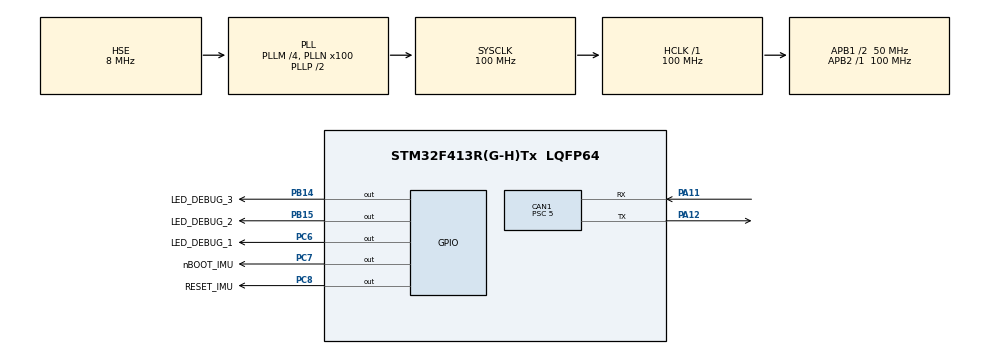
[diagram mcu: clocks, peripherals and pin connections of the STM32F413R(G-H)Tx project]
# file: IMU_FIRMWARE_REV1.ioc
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CAN1.BS1=CAN_BS1_8TQ
CAN1.CalculateTimeQuantum=100.0
CAN1.Prescaler=5
Mcu.Family=STM32F4
Mcu.Name=STM32F413R(G-H)Tx
Mcu.Package=LQFP64
NVIC.CAN1_RX0_IRQn=true\:2\:0\:true\:false\:true\:true\:true
NVIC.CAN1_RX1_IRQn=true\:2\:0\:true\:false\:true\:true\:true
NVIC.CAN1_SCE_IRQn=true\:2\:0\:true\:false\:true\:true\:true
NVIC.CAN1_TX_IRQn=true\:2\:0\:true\:false\:true\:true\:true
NVIC.PriorityGroup=NVIC_PRIORITYGROUP_4
NVIC.TIM6_DAC_IRQn=true\:1\:0\:true\:false\:true\:true\:true
PA11.Mode=Master
PA11.Signal=CAN1_RX
PA12.Mode=Master
PA12.Signal=CAN1_TX
PA13.Mode=Trace_Asynchronous_SW
PA13.Signal=SYS_JTMS-SWDIO
PA14.Mode=Trace_Asynchronous_SW
PA14.Signal=SYS_JTCK-SWCLK
PB14.GPIO_Label=LED_DEBUG_3
PB14.PinState=GPIO_PIN_SET
PB14.Signal=GPIO_Output
PB15.GPIO_Label=LED_DEBUG_2
PB15.PinState=GPIO_PIN_SET
PB15.Signal=GPIO_Output
PB3.Mode=Trace_Asynchronous_SW
PB3.Signal=SYS_JTDO-SWO
PC6.GPIO_Label=LED_DEBUG_1
PC6.PinState=GPIO_PIN_SET
PC6.Signal=GPIO_Output
PC7.GPIO_Label=nBOOT_IMU
PC7.Signal=GPIO_Output
PC8.GPIO_Label=RESET_IMU
PC8.Signal=GPIO_Output
PH0\ -\ OSC_IN.Mode=HSE-External-Oscillator
PH0\ -\ OSC_IN.Signal=RCC_OSC_IN
PH1\ -\ OSC_OUT.Mode=HSE-External-Oscillator
PH1\ -\ OSC_OUT.Signal=RCC_OSC_OUT
ProjectManager.HeapSize=0x1200
ProjectManager.StackSize=0x1400
ProjectManager.TargetToolchain=MDK-ARM V5
RCC.AHBFreq_Value=100000000
RCC.APB1CLKDivider=RCC_HCLK_DIV2
RCC.APB1Freq_Value=50000000
RCC.APB1TimFreq_Value=100000000
RCC.APB2Freq_Value=100000000
RCC.APB2TimFreq_Value=100000000
RCC.CortexFreq_Value=100000000
RCC.HCLKFreq_Value=100000000
RCC.HSE_VALUE=8000000
RCC.PLLM=4
RCC.PLLN=100
RCC.PLLQ=4
RCC.PLLSourceVirtual=RCC_PLLSOURCE_HSE
RCC.SYSCLKFreq_VALUE=100000000
RCC.SYSCLKSource=RCC_SYSCLKSOURCE_PLLCLK
RCC.USBFreq_Value=50000000
RCC.VCOOutputFreq_Value=200000000
TIM6.Period=999
TIM6.Prescaler=9999
VP_RNG_VS_RNG.Mode=RNG_Activate
VP_TIM6_VS_ClockSourceINT.Mode=Enable_Timer
board=custom

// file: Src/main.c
/* USER CODE BEGIN Header */
/**
  ******************************************************************************
  * @file           : main.c
  * @brief          : Main program body
  ******************************************************************************
  * @attention
  *
  * <h2><center>&copy; Copyright (c) 2019 STMicroelectronics.
  * All rights reserved.</center></h2>
  *
  * This software component is licensed by ST under BSD 3-Clause license,
  * the "License"; You may not use this file except in compliance with the
  * License. You may obtain a copy of the License at:
  *                        opensource.org/licenses/BSD-3-Clause
  *
  ******************************************************************************
  */
/* USER CODE END Header */

#include "main.h"
#include "can.h"
#include "rng.h"
#include "tim.h"
#include "gpio.h"

/* USER CODE BEGIN Includes */
#include "id_can.h"
#include "pirelli_sim.h"
#include <stdlib.h>

/* USER CODE END Includes */

/* USER CODE BEGIN PTD */
typedef enum
{
	false, true
}bool;
/* USER CODE END PTD */

/* USER CODE BEGIN PD */

#define MEAS_ID 0x641
#define STATUS_ID 0x640
/* USER CODE END PD */

/* USER CODE BEGIN PV */

advertiseMeasTypedef AdvertiseMeasFL;
advertiseSensorStatusTypedef AdvertiseSensorStatusFL;

advertiseMeasTypedef AdvertiseMeasFR;
advertiseSensorStatusTypedef AdvertiseSensorStatusFR;

advertiseMeasTypedef AdvertiseMeasRL;
advertiseSensorStatusTypedef AdvertiseSensorStatusRL;

advertiseMeasTypedef AdvertiseMeasRR;
advertiseSensorStatusTypedef AdvertiseSensorStatusRR;

uint8_t sendBuffer [8];
uint8_t status=0;

bool useErrors = true;

/* USER CODE END PV */

void SystemClock_Config(void);
/* USER CODE BEGIN PFP */
void LED_blink(void);
/* USER CODE END PFP */

int main(void)
{
  /* USER CODE BEGIN 1 */

	//Note: inserire il valore che si intende inviare, gli offset vengono applicati dalla funzione di conversione da struct ad array

	/*advertiseMeasTypedef:							//Range accettabili:

	uint32_t UID;												//Da 0 a 0xFFFFFFFF
	uint16_t Pressure;									//Da 0 a 2047
	statusTypedef Measurement_Status;		//Vedi typedef status
	int16_t Temperature;								//Da -78 a 177
	uint8_t Service_Counter;						//Da 0 a 255 ciclico

	advertiseSensorStatusTypedef:				//Range accettabili:

	uint32_t UID;												//Da 0 a 0xFFFFFFFF
	locationTypedef Location;						//Vedi typedef Location
	axleTypedef Axle;										//Vedi typedef axle
	typeTypedef Type;										//Vedi typedef type
	int8_t RSSI;												//Da -127 a 0
	muteTypedef Mute;										//Vedi typedef mute
	uint16_t Battery_Voltage;						//Da 100 a 355
	uint8_t Service_Counter;						//Da 0 a 255 ciclico*/

	//Inizializzazione front left

	AdvertiseMeasFL.UID = 0xCACCA000;
	AdvertiseMeasFL.Pressure = 100;
	AdvertiseMeasFL.Measurement_Status = IN_RANGE;
	AdvertiseMeasFL.Temperature = 85;
	AdvertiseMeasFL.Service_Counter = 0;

	AdvertiseSensorStatusFL.UID = 0xCACCA000;
	AdvertiseSensorStatusFL.Location = LEFT;
	AdvertiseSensorStatusFL.Axle = FRONT;
	AdvertiseSensorStatusFL.Type = TYPE_UNDEFINED;
	AdvertiseSensorStatusFL.RSSI = -15;
	AdvertiseSensorStatusFL.Mute = PSN_ADVERTISING;
	AdvertiseSensorStatusFL.Battery_Voltage = 255;
	AdvertiseSensorStatusFL.Service_Counter = 0;

	//Inizializzazione front right
	AdvertiseMeasFR.UID = 0xCACCA001;
	AdvertiseMeasFR.Pressure = 120;
	AdvertiseMeasFR.Measurement_Status = IN_RANGE;
	AdvertiseMeasFR.Temperature = 70;
	AdvertiseMeasFR.Service_Counter = 0;

	AdvertiseSensorStatusFR.UID = 0xCACCA001;
	AdvertiseSensorStatusFR.Location = RIGHT;
	AdvertiseSensorStatusFR.Axle = FRONT;
	AdvertiseSensorStatusFR.Type = TYPE_UNDEFINED;
	AdvertiseSensorStatusFR.RSSI = -16;
	AdvertiseSensorStatusFR.Mute = PSN_ADVERTISING;
	AdvertiseSensorStatusFR.Battery_Voltage = 250;
	AdvertiseSensorStatusFR.Service_Counter = 0;

	//Inizializzazione rear left

	AdvertiseMeasRL.UID = 0xCACCA002;
	AdvertiseMeasRL.Pressure = 90;
	AdvertiseMeasRL.Measurement_Status = IN_RANGE;
	AdvertiseMeasRL.Temperature = 120;
	AdvertiseMeasRL.Service_Counter = 0;

	AdvertiseSensorStatusRL.UID = 0xCACCA002;
	AdvertiseSensorStatusRL.Location = LEFT;
	AdvertiseSensorStatusRL.Axle = REAR;
	AdvertiseSensorStatusRL.Type = TYPE_UNDEFINED;
	AdvertiseSensorStatusRL.RSSI = -17;
	AdvertiseSensorStatusRL.Mute = PSN_ADVERTISING;
	AdvertiseSensorStatusRL.Battery_Voltage = 200;
	AdvertiseSensorStatusRL.Service_Counter = 0;

	//Inizializzazione rear right

	AdvertiseMeasRR.UID = 0xCACCA003;
	AdvertiseMeasRR.Pressure = 90;
	AdvertiseMeasRR.Measurement_Status = IN_RANGE;
	AdvertiseMeasRR.Temperature = 120;
	AdvertiseMeasRR.Service_Counter = 0;

	AdvertiseSensorStatusRR.UID = 0xCACCA003;
	AdvertiseSensorStatusRR.Location = RIGHT;
	AdvertiseSensorStatusRR.Axle = REAR;
	AdvertiseSensorStatusRR.Type = TYPE_UNDEFINED;
	AdvertiseSensorStatusRR.RSSI = -18;
	AdvertiseSensorStatusRR.Mute = PSN_ADVERTISING;
	AdvertiseSensorStatusRR.Battery_Voltage = 200;
	AdvertiseSensorStatusRR.Service_Counter = 0;

  /* USER CODE END 1 */

  /* MCU Configuration--------------------------------------------------------*/

  /* Reset of all peripherals, Initializes the Flash interface and the Systick. */
  HAL_Init();

  /* Configure the system clock */
  SystemClock_Config();

  /* Initialize all configured peripherals */
  MX_GPIO_Init();
  MX_CAN1_Init();
  MX_TIM6_Init();
  MX_RNG_Init();
  /* USER CODE BEGIN 2 */
	LED_blink();
	canStart();
	HAL_TIM_Base_Start_IT(&htim6);
  /* USER CODE END 2 */

  /* Infinite loop */
  while (1)
  {

  }
}

void SystemClock_Config(void)
{
  RCC_OscInitTypeDef RCC_OscInitStruct = {0};
  RCC_ClkInitTypeDef RCC_ClkInitStruct = {0};
  RCC_PeriphCLKInitTypeDef PeriphClkInitStruct = {0};

  /** Configure the main internal regulator output voltage
  */
  __HAL_RCC_PWR_CLK_ENABLE();
  __HAL_PWR_VOLTAGESCALING_CONFIG(PWR_REGULATOR_VOLTAGE_SCALE1);
  /** Initializes the CPU, AHB and APB busses clocks
  */
  RCC_OscInitStruct.OscillatorType = RCC_OSCILLATORTYPE_HSE;
  RCC_OscInitStruct.HSEState = RCC_HSE_ON;
  RCC_OscInitStruct.PLL.PLLState = RCC_PLL_ON;
  RCC_OscInitStruct.PLL.PLLSource = RCC_PLLSOURCE_HSE;
  RCC_OscInitStruct.PLL.PLLM = 4;
  RCC_OscInitStruct.PLL.PLLN = 100;
  RCC_OscInitStruct.PLL.PLLP = RCC_PLLP_DIV2;
  RCC_OscInitStruct.PLL.PLLQ = 4;
  RCC_OscInitStruct.PLL.PLLR = 2;
  if (HAL_RCC_OscConfig(&RCC_OscInitStruct) != HAL_OK)
  {
    Error_Handler();
  }
  /** Initializes the CPU, AHB and APB busses clocks
  */
  RCC_ClkInitStruct.ClockType = RCC_CLOCKTYPE_HCLK|RCC_CLOCKTYPE_SYSCLK
                              |RCC_CLOCKTYPE_PCLK1|RCC_CLOCKTYPE_PCLK2;
  RCC_ClkInitStruct.SYSCLKSource = RCC_SYSCLKSOURCE_PLLCLK;
  RCC_ClkInitStruct.AHBCLKDivider = RCC_SYSCLK_DIV1;
  RCC_ClkInitStruct.APB1CLKDivider = RCC_HCLK_DIV2;
  RCC_ClkInitStruct.APB2CLKDivider = RCC_HCLK_DIV1;

  if (HAL_RCC_ClockConfig(&RCC_ClkInitStruct, FLASH_LATENCY_3) != HAL_OK)
  {
    Error_Handler();
  }
  PeriphClkInitStruct.PeriphClockSelection = RCC_PERIPHCLK_CLK48;
  PeriphClkInitStruct.Clk48ClockSelection = RCC_CLK48CLKSOURCE_PLLQ;
  if (HAL_RCCEx_PeriphCLKConfig(&PeriphClkInitStruct) != HAL_OK)
  {
    Error_Handler();
  }
}

/* USER CODE BEGIN 4 */

void HAL_TIM_PeriodElapsedCallback (TIM_HandleTypeDef *htim)
{
	uint32_t error_number;
	HAL_RNG_GenerateRandomNumber(&hrng, &error_number);
	if (htim->Instance==TIM6)
	{
		switch (status)
		{
			case 0:
				AdvertiseMeasFL.Service_Counter++;
				AdvertiseMeasToArray(AdvertiseMeasFL,sendBuffer);
				if (useErrors == false || error_number%7!=0)
				{
					CAN_send_intel(sendBuffer, MEAS_ID, 8);
				}
				else
				{
					HAL_GPIO_TogglePin(GPIOB, LED_DEBUG_3_Pin);
				}
				AdvertiseMeasFL.Pressure++;
				AdvertiseMeasFL.Temperature++;
				status = 1;
			break;
			case 1:
				AdvertiseSensorStatusFL.Service_Counter++;
				AdvertiseSensorStatusToArray(AdvertiseSensorStatusFL,sendBuffer);
				if (useErrors == false || error_number%7!=0)
				{
					CAN_send_intel(sendBuffer, STATUS_ID, 8);
				}
				else
				{
					HAL_GPIO_TogglePin(GPIOB, LED_DEBUG_3_Pin);
				}
				status = 2;
			break;
			case 2:
				AdvertiseMeasFR.Service_Counter++;
				AdvertiseMeasToArray(AdvertiseMeasFR,sendBuffer);
				if (useErrors == false || error_number%7!=0)
				{
					CAN_send_intel(sendBuffer, MEAS_ID, 8);
				}
				else
				{
					HAL_GPIO_TogglePin(GPIOB, LED_DEBUG_3_Pin);
				}
				AdvertiseMeasFR.Pressure++;
				AdvertiseMeasFR.Temperature++;
				status = 3;
			break;
			case 3:
				AdvertiseSensorStatusFR.Service_Counter++;
				AdvertiseSensorStatusToArray(AdvertiseSensorStatusFR,sendBuffer);
				if (useErrors == false || error_number%7!=0)
				{
					CAN_send_intel(sendBuffer, STATUS_ID, 8);
				}
				else
				{
					HAL_GPIO_TogglePin(GPIOB, LED_DEBUG_3_Pin);
				}
				status = 4;
			break;
			case 4:
				AdvertiseMeasRL.Service_Counter++;
				AdvertiseMeasToArray(AdvertiseMeasRL,sendBuffer);
				if (useErrors == false || error_number%7!=0)
				{
					CAN_send_intel(sendBuffer, MEAS_ID, 8);
				}
				else
				{
					HAL_GPIO_TogglePin(GPIOB, LED_DEBUG_3_Pin);
				}
				AdvertiseMeasRL.Pressure++;
				AdvertiseMeasRL.Temperature++;
				status = 5;
			break;
			case 5:
				AdvertiseSensorStatusRL.Service_Counter++;
				AdvertiseSensorStatusToArray(AdvertiseSensorStatusRL,sendBuffer);
				if (useErrors == false || error_number%7!=0)
				{
					CAN_send_intel(sendBuffer, STATUS_ID, 8);
				}
				else
				{
					HAL_GPIO_TogglePin(GPIOB, LED_DEBUG_3_Pin);
				}
				status = 6;
			break;
			case 6:
				AdvertiseMeasRR.Service_Counter++;
				AdvertiseMeasToArray(AdvertiseMeasRR,sendBuffer);
				if (useErrors == false || error_number%7!=0)
				{
					CAN_send_intel(sendBuffer, MEAS_ID, 8);
				}
				else
				{
					HAL_GPIO_TogglePin(GPIOB, LED_DEBUG_3_Pin);
				}
				AdvertiseMeasRR.Pressure++;
				AdvertiseMeasRR.Temperature++;
				status = 7;
			break;
			case 7:
				AdvertiseSensorStatusRR.Service_Counter++;
				AdvertiseSensorStatusToArray(AdvertiseSensorStatusRR,sendBuffer);
				if (useErrors == false || error_number%7!=0)
				{
					CAN_send_intel(sendBuffer, STATUS_ID, 8);
				}
				else
				{
					HAL_GPIO_TogglePin(GPIOB, LED_DEBUG_3_Pin);
				}
				status = 0;
			break;
			default:

			break;
		}
		HAL_GPIO_TogglePin(GPIOC, LED_DEBUG_1_Pin);
	}
}

void LED_blink(void)
{
	uint8_t count=0;
	HAL_GPIO_WritePin(GPIOC, LED_DEBUG_1_Pin, GPIO_PIN_RESET);
	HAL_GPIO_WritePin(GPIOB, LED_DEBUG_2_Pin, GPIO_PIN_RESET);
	HAL_GPIO_WritePin(GPIOB, LED_DEBUG_3_Pin, GPIO_PIN_RESET);

	while (count<5)
	{
			HAL_Delay(100);
			HAL_GPIO_WritePin(GPIOC, LED_DEBUG_1_Pin, GPIO_PIN_SET);
			HAL_GPIO_WritePin(GPIOB, LED_DEBUG_2_Pin, GPIO_PIN_SET);
			HAL_GPIO_WritePin(GPIOB, LED_DEBUG_3_Pin, GPIO_PIN_SET);
			HAL_Delay(100);
			HAL_GPIO_WritePin(GPIOC, LED_DEBUG_1_Pin, GPIO_PIN_RESET);
			HAL_GPIO_WritePin(GPIOB, LED_DEBUG_2_Pin, GPIO_PIN_RESET);
			HAL_GPIO_WritePin(GPIOB, LED_DEBUG_3_Pin, GPIO_PIN_RESET);
			count++;
	}
}
/* USER CODE END 4 */

void Error_Handler(void)
{
}

/************************ (C) COPYRIGHT STMicroelectronics *****END OF FILE****/
